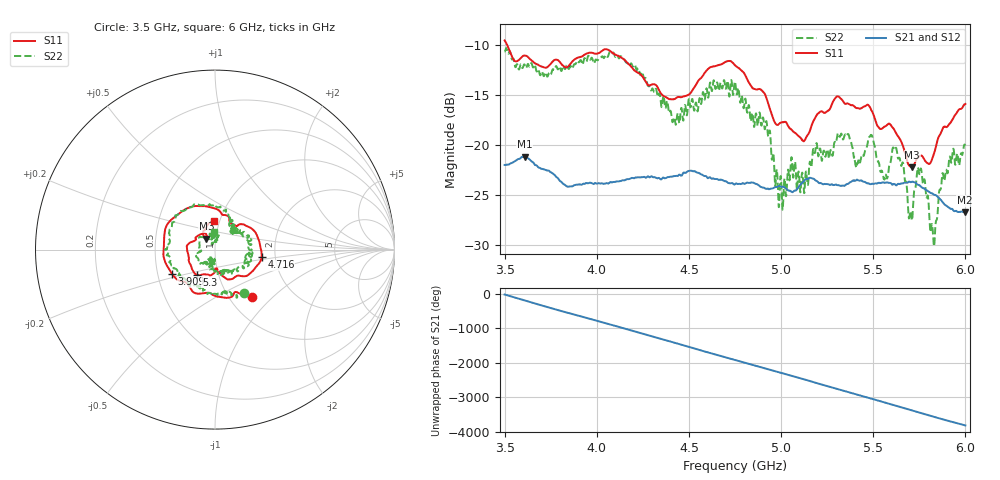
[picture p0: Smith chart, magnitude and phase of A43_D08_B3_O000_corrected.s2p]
! Created with skrf 1.9.0 (http://scikit-rf.org).
# Hz S RI R 50.0
!freq ReS11 ImS11 ReS21 ImS21 ReS12 ImS12 ReS22 ImS22
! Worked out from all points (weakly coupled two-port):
!   1601 points, 3.5 GHz to 6 GHz, reference 50 ohm
!   highest |S21| = -21.20 dB at 3.609 GHz (marker M1); lowest = -26.8 dB at 5.997 GHz (marker M2)
!   lowest |S11| = -22.3 dB at 5.711 GHz (marker M3), VSWR 1.17, Z = 45.1 + j5.46 ohm
!   |S11| at or under -10 dB: 3.513 GHz to end of sweep
!   |S22| runs from -30.2 to -10.3 dB; largest |S21 - S12| = 0.001
!   S11 on the Smith chart (normalised r, x): 3.5 GHz: 1.27, -0.75; 3.909 GHz: 0.59, -0.17; 4.716 GHz: 1.69, -0.15; 5.3 GHz: 0.79, -0.23; 6 GHz: 0.94, +0.31
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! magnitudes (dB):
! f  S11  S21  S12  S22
! 3.5 GHz  -9.6  -22.0  -22.0  -10.7
! 3.609 GHz  -11.1  -21.2  -21.2  -12.0
! 3.909 GHz  -11.2  -24.0  -23.9  -11.6
! 3.917 GHz  -11.2  -24.0  -24.0  -11.7
! 4.334 GHz  -14.4  -23.3  -23.3  -15.2
! 4.42 GHz  -15.4  -23.1  -23.1  -17.3
! 4.716 GHz  -11.6  -23.8  -23.9  -14.7
! 4.75 GHz  -12.1  -24.0  -23.9  -13.7
! 4.93 GHz  -15.9  -24.4  -24.4  -19.1
! 4.998 GHz  -17.8  -24.2  -24.2  -23.1
! 5.167 GHz  -18.0  -23.4  -23.3  -21.8
! 5.3 GHz  -15.2  -24.0  -24.0  -19.7
! 5.416 GHz  -16.3  -23.5  -23.6  -21.9
! 5.487 GHz  -16.4  -23.9  -23.9  -19.0
! 5.584 GHz  -17.9  -23.8  -23.8  -22.4
! 5.619 GHz  -18.6  -24.0  -24.0  -20.4
! 5.711 GHz  -22.3  -23.7  -23.7  -27.6
! 5.752 GHz  -21.1  -24.1  -24.1  -22.8
! 5.823 GHz  -21.2  -24.9  -24.9  -28.8
! 5.884 GHz  -18.2  -25.9  -25.9  -23.6
! 5.997 GHz  -15.9  -26.8  -26.7  -20.0
! 6 GHz  -15.9  -26.7  -26.7  -20.1
